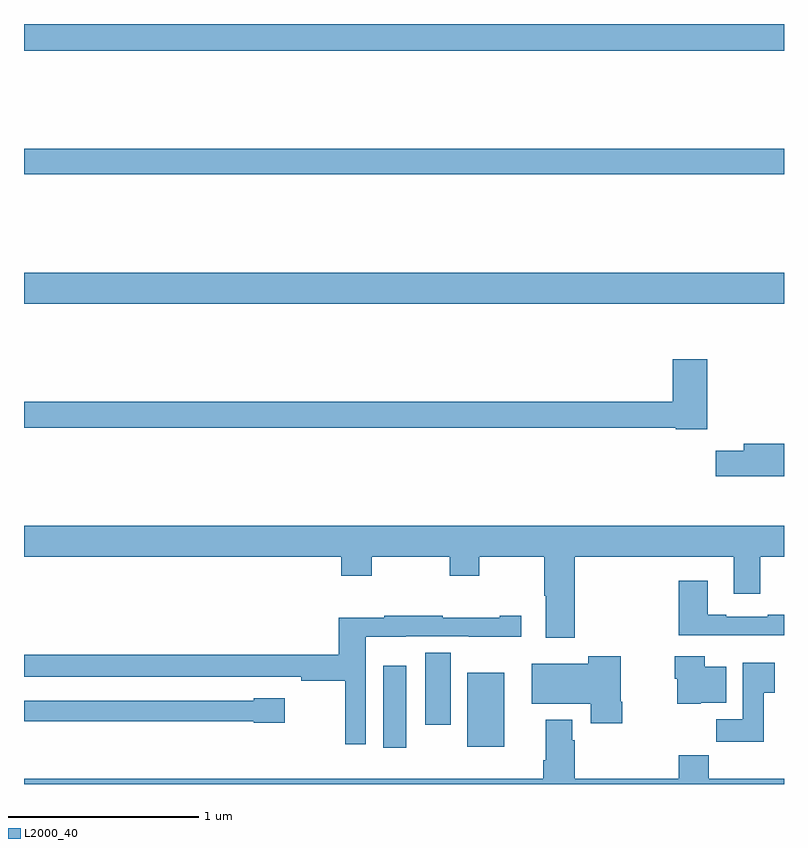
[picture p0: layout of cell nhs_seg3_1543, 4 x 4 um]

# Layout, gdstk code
import gdstk
lib = gdstk.Library(unit=1e-6, precision=1e-09)
def R(c, l, rs):  # rectangles x0, y0, x1, y1
    for r in rs: c.add(gdstk.rectangle(r[:2], r[2:], *l))
def P(c, l, *ps):  # polygons
    for p in ps: c.add(gdstk.Polygon(p, *l))
L2000_40 = (2000, 40)

nhs_seg3_1543 = lib.new_cell('nhs_seg3_1543')
R(nhs_seg3_1543, L2000_40, [(192.89,686.592,193.012,687.022), (193.334,686.597,193.528,686.986), (193.112,686.712,193.246,687.092), (191,688.928,195,689.092), (191,689.608,195,689.744), (191,690.26,195,690.4)])
P(nhs_seg3_1543, L2000_40, [(194.597,688.636),(194.414,688.636),(194.414,688.412),(191,688.412),(191,688.276),(194.43,688.276),(194.43,688.268),(194.597,688.268)],
  [(195,688.19),(194.789,688.19),(194.789,688.154),(194.64,688.154),(194.64,688.019),(195,688.019)],
  [(193.898,687.596),(194.735,687.596),(194.735,687.402),(194.875,687.402),(194.875,687.596),(195,687.596),(195,687.76),(191,687.76),(191,687.596),(192.671,687.596),(192.671,687.497),(192.831,687.497),(192.831,687.596),(193.24,687.596),(193.24,687.497),(193.395,687.497),(193.395,687.596),(193.738,687.596),(193.738,687.392),(193.745,687.392),(193.745,687.171),(193.898,687.171)],
  [(195,687.292),(194.915,687.292),(194.915,687.279),(194.695,687.279),(194.695,687.292),(194.599,687.292),(194.599,687.469),(194.447,687.469),(194.447,687.182),(195,687.182)],
  [(192.798,687.176),(193.008,687.176),(193.008,687.177),(193.342,687.177),(193.342,687.176),(193.618,687.176),(193.618,687.286),(193.505,687.286),(193.505,687.276),(193.205,687.276),(193.205,687.286),(192.895,687.286),(192.895,687.276),(192.656,687.276),(192.656,687.08),(191,687.08),(191,686.964),(192.46,686.964),(192.46,686.944),(192.69,686.944),(192.69,686.61),(192.798,686.61)],
  [(194.562,686.828),(194.695,686.828),(194.695,687.016),(194.584,687.016),(194.584,687.073),(194.426,687.073),(194.426,686.955),(194.437,686.955),(194.437,686.822),(194.562,686.822)],
  [(194.148,686.833),(194.14,686.833),(194.14,687.073),(193.97,687.073),(193.97,687.034),(193.673,687.034),(193.673,686.822),(193.982,686.822),(193.982,686.721),(194.148,686.721)],
  [(194.893,686.881),(194.95,686.881),(194.95,687.037),(194.783,687.037),(194.783,686.74),(194.644,686.74),(194.644,686.622),(194.893,686.622)],
  [(192.373,686.851),(192.21,686.851),(192.21,686.838),(191,686.838),(191,686.73),(192.21,686.73),(192.21,686.722),(192.373,686.722)],
  [(195,686.428),(194.603,686.428),(194.603,686.552),(194.447,686.552),(194.447,686.428),(193.898,686.428),(193.898,686.63),(193.885,686.63),(193.885,686.737),(193.745,686.737),(193.745,686.524),(193.733,686.524),(193.733,686.428),(191,686.428),(191,686.4),(195,686.4)])

lib.write_gds('nhs_seg3_1543.gds')
